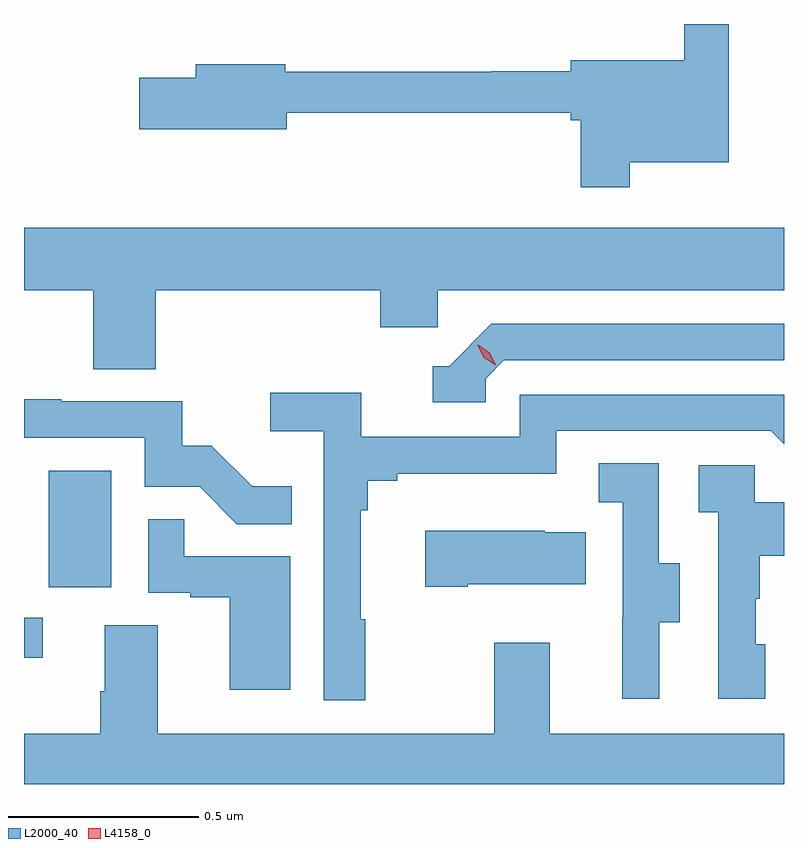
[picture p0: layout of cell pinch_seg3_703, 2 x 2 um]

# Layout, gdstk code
import gdstk
lib = gdstk.Library(unit=1e-6, precision=1e-09)
def R(c, l, rs):  # rectangles x0, y0, x1, y1
    for r in rs: c.add(gdstk.rectangle(r[:2], r[2:], *l))
def P(c, l, *ps):  # polygons
    for p in ps: c.add(gdstk.Polygon(p, *l))
L2000_40 = (2000, 40)
L4158_0 = (4158, 0)

pinch_seg3_703 = lib.new_cell('pinch_seg3_703')
R(pinch_seg3_703, L2000_40, [(1097.655,678.636,1097.704,678.741), (1097.72,678.822,1097.884,679.129)])
P(pinch_seg3_703, L2000_40, [(1099.249,679.94),(1099.51,679.94),(1099.51,680.304),(1099.393,680.304),(1099.393,680.209),(1099.094,680.209),(1099.094,680.18),(1098.886,680.18),(1098.886,680.179),(1098.342,680.179),(1098.342,680.198),(1098.107,680.198),(1098.107,680.162),(1097.958,680.162),(1097.958,680.027),(1098.346,680.027),(1098.346,680.07),(1099.094,680.07),(1099.094,680.051),(1099.12,680.051),(1099.12,679.875),(1099.249,679.875)],
  [(1098.002,679.604),(1098.593,679.604),(1098.593,679.506),(1098.744,679.506),(1098.744,679.604),(1099.655,679.604),(1099.655,679.768),(1097.655,679.768),(1097.655,679.604),(1097.837,679.604),(1097.837,679.396),(1098.002,679.396)],
  [(1098.87,679.371),(1098.918,679.419),(1099.655,679.419),(1099.655,679.515),(1098.885,679.515),(1098.774,679.404),(1098.731,679.404),(1098.731,679.308),(1098.87,679.308)],
  [(1098.553,678.737),(1098.541,678.737),(1098.541,679.025),(1098.56,679.025),(1098.56,679.102),(1098.637,679.102),(1098.637,679.121),(1099.056,679.121),(1099.056,679.233),(1099.62,679.233),(1099.655,679.198),(1099.655,679.329),(1098.96,679.329),(1098.96,679.218),(1098.542,679.218),(1098.542,679.334),(1098.303,679.334),(1098.303,679.232),(1098.444,679.232),(1098.444,678.525),(1098.553,678.525)],
  [(1098.359,679.087),(1098.255,679.087),(1098.148,679.194),(1098.072,679.194),(1098.072,679.311),(1097.753,679.311),(1097.753,679.316),(1097.655,679.316),(1097.655,679.215),(1097.973,679.215),(1097.973,679.086),(1098.117,679.086),(1098.215,678.988),(1098.359,678.988)],
  [(1099.327,678.73),(1099.381,678.73),(1099.381,678.885),(1099.326,678.885),(1099.326,679.148),(1099.167,679.148),(1099.167,679.045),(1099.23,679.045),(1099.23,678.741),(1099.229,678.741),(1099.229,678.528),(1099.327,678.528)],
  [(1099.606,678.672),(1099.581,678.672),(1099.581,678.791),(1099.591,678.791),(1099.591,678.905),(1099.655,678.905),(1099.655,679.045),(1099.578,679.045),(1099.578,679.143),(1099.431,679.143),(1099.431,679.019),(1099.482,679.019),(1099.482,678.528),(1099.606,678.528)],
  [(1098.355,678.903),(1098.077,678.903),(1098.077,679.001),(1097.982,679.001),(1097.982,678.807),(1098.093,678.807),(1098.093,678.795),(1098.197,678.795),(1098.197,678.552),(1098.355,678.552)],
  [(1098.823,678.83),(1099.133,678.83),(1099.133,678.967),(1099.025,678.967),(1099.025,678.97),(1098.711,678.97),(1098.711,678.823),(1098.823,678.823)],
  [(1099.655,678.436),(1099.039,678.436),(1099.039,678.676),(1098.892,678.676),(1098.892,678.436),(1098.007,678.436),(1098.007,678.722),(1097.867,678.722),(1097.867,678.548),(1097.855,678.548),(1097.855,678.436),(1097.655,678.436),(1097.655,678.304),(1099.655,678.304)])
P(pinch_seg3_703, L4158_0, [(1098.896,679.406),(1098.865,679.426),(1098.849,679.459),(1098.849,679.46),(1098.85,679.46),(1098.88,679.439),(1098.896,679.406),(1098.896,679.406)])

lib.write_gds('pinch_seg3_703.gds')
